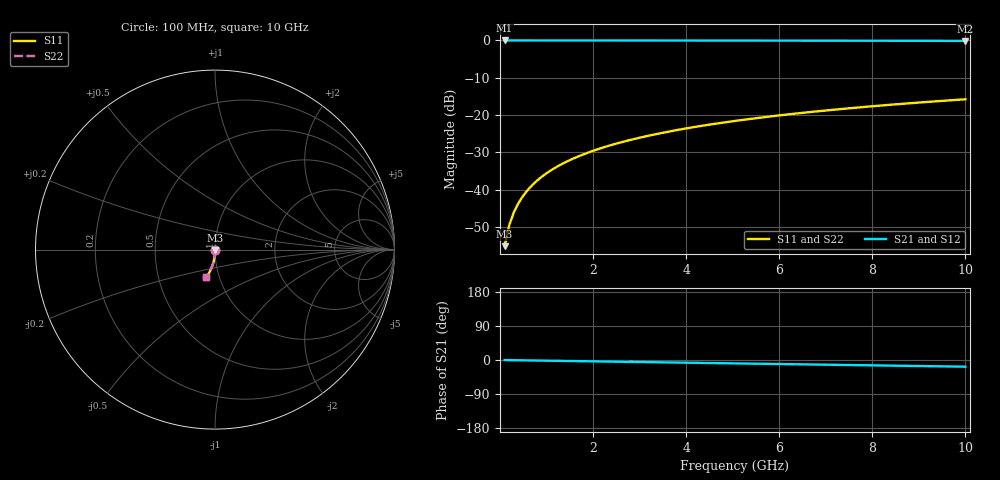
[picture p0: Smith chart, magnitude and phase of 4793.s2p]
# Hz S RI R 50.00
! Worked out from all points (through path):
!   100 points, 100 MHz to 10 GHz, reference 50 ohm
!   highest |S21| = 0.00 dB at 100 MHz (marker M1); lowest = -0.1 dB at 10 GHz (marker M2)
!   group delay of S21, straight-line fit = 4.9 ps
!   lowest |S11| = -55.1 dB at 100 MHz (marker M3), VSWR 1.00, Z = 50.1 - j0.166 ohm
!   |S11| at or under -10 dB: start of sweep to end of sweep
!   |S22| runs from -55.1 to -15.8 dB; largest |S21 - S12| = 0
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1e8  0.000563 -0.00166  0.9994 -0.00309  0.9994 -0.00309  0.000563 -0.00166
2e8  0.000549 -0.00333  0.9994 -0.00618  0.9994 -0.00618  0.000549 -0.00333
3e8  0.000523 -0.00499  0.9994 -0.00927  0.9994 -0.00927  0.000523 -0.00499
4e8  0.000488 -0.00665  0.9993 -0.0124  0.9993 -0.0124  0.000488 -0.00665
5e8  0.000441 -0.00831  0.9993 -0.0155  0.9993 -0.0155  0.000441 -0.00831
6e8  0.000384 -0.00998  0.9992 -0.0185  0.9992 -0.0185  0.000384 -0.00998
7e8  0.000317 -0.0116  0.9991 -0.0216  0.9991 -0.0216  0.000317 -0.0116
8e8  0.000239 -0.0133  0.999 -0.0247  0.999 -0.0247  0.000239 -0.0133
9e8  0.00015 -0.015  0.9989 -0.0278  0.9989 -0.0278  0.00015 -0.015
1.1e9  -5.71e-05 -0.0183  0.9986 -0.034  0.9986 -0.034  -5.71e-05 -0.0183
1.4e9  -0.000446 -0.0233  0.9982 -0.0433  0.9982 -0.0433  -0.000446 -0.0233
1.8e9  -0.00111 -0.0299  0.9974 -0.0556  0.9974 -0.0556  -0.00111 -0.0299
2.1e9  -0.00171 -0.0348  0.9966 -0.0648  0.9966 -0.0648  -0.00171 -0.0348
2.5e9  -0.00266 -0.0414  0.9955 -0.0771  0.9955 -0.0771  -0.00266 -0.0414
2.9e9  -0.00377 -0.048  0.9942 -0.0894  0.9942 -0.0894  -0.00377 -0.048
3.4e9  -0.00539 -0.0561  0.9922 -0.1047  0.9922 -0.1047  -0.00539 -0.0561
4.2e9  -0.00849 -0.069  0.9885 -0.1291  0.9885 -0.1291  -0.00849 -0.069
5.1e9  -0.0127 -0.0834  0.9833 -0.1563  0.9833 -0.1563  -0.0127 -0.0834
5.9e9  -0.0172 -0.0959  0.978 -0.1803  0.978 -0.1803  -0.0172 -0.0959
6.7e9  -0.0222 -0.1081  0.9719 -0.204  0.9719 -0.204  -0.0222 -0.1081
8.4e9  -0.0348 -0.1332  0.9566 -0.2535  0.9566 -0.2535  -0.0348 -0.1332
1e10  -0.0489 -0.1553  0.9394 -0.2987  0.9394 -0.2987  -0.0489 -0.1553
